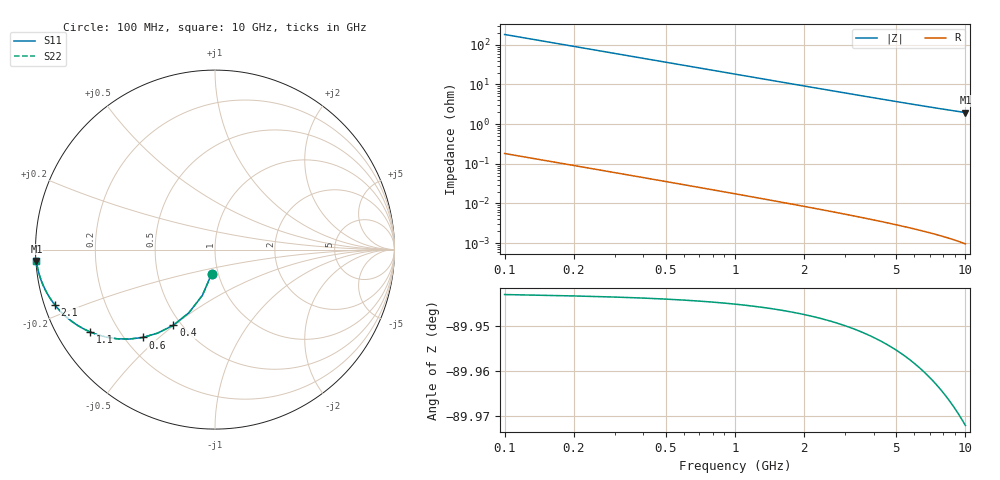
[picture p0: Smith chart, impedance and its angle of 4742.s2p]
# Hz S RI R 50.00
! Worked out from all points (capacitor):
!   100 points, 100 MHz to 10 GHz, reference 50 ohm
!   read as one part in shunt: C = 8.73 pF near 100 MHz
!   lowest |Z| = 1.96 ohm at 10 GHz (marker M1)
!   S11 on the Smith chart (normalised r, x): 100 MHz: 0.93, -0.25; 400 MHz: 0.45, -0.50; 600 MHz: 0.27, -0.44; 1.1 GHz: 0.10, -0.30; 2.1 GHz: 0.03, -0.17; 10 GHz: 0.00, -0.03
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1e8  -0.0185 -0.1344  0.9814 -0.1346  0.9814 -0.1346  -0.0185 -0.1344
2e8  -0.0701 -0.2547  0.9298 -0.255  0.9298 -0.255  -0.0701 -0.2547
3e8  -0.1448 -0.3513  0.8551 -0.3517  0.8551 -0.3517  -0.1448 -0.3513
4e8  -0.2313 -0.4209  0.7686 -0.4215  0.7686 -0.4215  -0.2313 -0.4209
5e8  -0.3197 -0.4655  0.6802 -0.4662  0.6802 -0.4662  -0.3197 -0.4655
6e8  -0.4035 -0.4897  0.5964 -0.4905  0.5964 -0.4905  -0.4035 -0.4897
7e8  -0.4793 -0.4986  0.5206 -0.4996  0.5206 -0.4996  -0.4793 -0.4986
8e8  -0.5459 -0.4968  0.454 -0.4979  0.454 -0.4979  -0.5459 -0.4968
9e8  -0.6033 -0.4881  0.3966 -0.4893  0.3966 -0.4893  -0.6033 -0.4881
1.1e9  -0.6943 -0.4594  0.3056 -0.4609  0.3056 -0.4609  -0.6943 -0.4594
1.2e9  -0.7299 -0.4426  0.27 -0.4443  0.27 -0.4443  -0.7299 -0.4426
1.4e9  -0.7862 -0.4085  0.2137 -0.4104  0.2137 -0.4104  -0.7862 -0.4085
1.6e9  -0.8276 -0.376  0.1723 -0.3783  0.1723 -0.3783  -0.8276 -0.376
1.8e9  -0.8587 -0.3465  0.1412 -0.3491  0.1412 -0.3491  -0.8587 -0.3465
2.1e9  -0.8921 -0.3082  0.1078 -0.3111  0.1078 -0.3111  -0.8921 -0.3082
2.7e9  -0.9318 -0.2496  0.0681 -0.2534  0.0681 -0.2534  -0.9318 -0.2496
3.4e9  -0.9559 -0.2023  0.044 -0.2071  0.044 -0.2071  -0.9559 -0.2023
4.2e9  -0.9707 -0.1651  0.0292 -0.171  0.0292 -0.171  -0.9707 -0.1651
5.1e9  -0.9799 -0.1358  0.0199 -0.1431  0.0199 -0.1431  -0.9799 -0.1358
6.7e9  -0.9883 -0.1017  0.0115 -0.1113  0.0115 -0.1113  -0.9883 -0.1017
8.4e9  -0.9926 -0.0786  0.00725 -0.0908  0.00725 -0.0908  -0.9926 -0.0786
1e10  -0.9948 -0.0633  0.00501 -0.0781  0.00501 -0.0781  -0.9948 -0.0633
